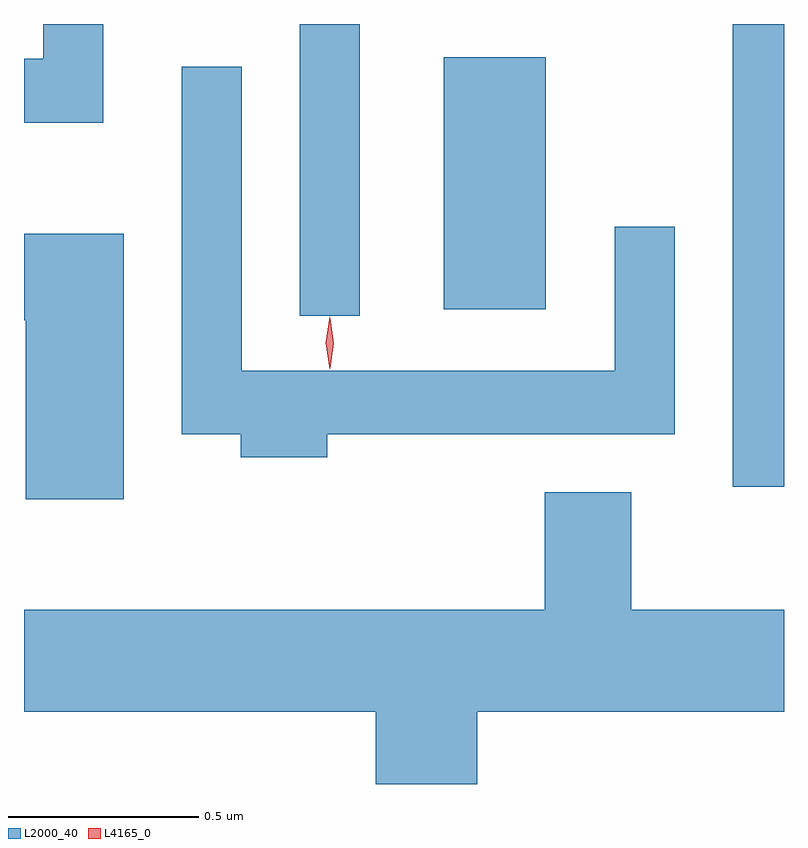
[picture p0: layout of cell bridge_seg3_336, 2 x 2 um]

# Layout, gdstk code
import gdstk
lib = gdstk.Library(unit=1e-6, precision=1e-09)
def R(c, l, rs):  # rectangles x0, y0, x1, y1
    for r in rs: c.add(gdstk.rectangle(r[:2], r[2:], *l))
def P(c, l, *ps):  # polygons
    for p in ps: c.add(gdstk.Polygon(p, *l))
L2000_40 = (2000, 40)
L4165_0 = (4165, 0)

bridge_seg3_336 = lib.new_cell('bridge_seg3_336')
R(bridge_seg3_336, L2000_40, [(555.676,1233.168,555.811,1234.386), (554.536,1233.618,554.694,1234.386), (554.916,1233.636,555.184,1234.299)])
P(bridge_seg3_336, L2000_40, [(554.019,1234.386),(553.861,1234.386),(553.861,1234.294),(553.811,1234.294),(553.811,1234.126),(554.019,1234.126)],
  [(554.609,1233.306),(555.524,1233.306),(555.524,1233.853),(555.366,1233.853),(555.366,1233.474),(554.384,1233.474),(554.384,1234.273),(554.226,1234.273),(554.226,1233.306),(554.381,1233.306),(554.381,1233.246),(554.609,1233.246)],
  [(554.074,1233.834),(553.811,1233.834),(553.811,1233.606),(553.816,1233.606),(553.816,1233.136),(554.074,1233.136)],
  [(555.004,1232.576),(555.811,1232.576),(555.811,1232.844),(555.409,1232.844),(555.409,1233.154),(555.181,1233.154),(555.181,1232.844),(553.811,1232.844),(553.811,1232.576),(554.736,1232.576),(554.736,1232.386),(555.004,1232.386)])
P(bridge_seg3_336, L4165_0, [(554.615,1233.477),(554.615,1233.477),(554.605,1233.547),(554.615,1233.616),(554.615,1233.616),(554.616,1233.616),(554.625,1233.547),(554.616,1233.477)],
  [(554.616,1233.479),(554.616,1233.48),(554.606,1233.546),(554.616,1233.612),(554.616,1233.613),(554.617,1233.612),(554.626,1233.546),(554.617,1233.48)])

lib.write_gds('bridge_seg3_336.gds')
